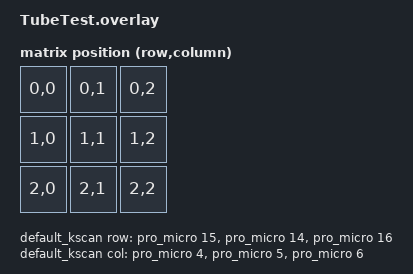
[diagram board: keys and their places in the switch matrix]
#include <dt-bindings/zmk/matrix_transform.h>

/ {
    chosen {
        zmk,kscan = &default_kscan;
        zmk,matrix_transform = &default_transform;
    };

    default_kscan: kscan {
        compatible = "zmk,kscan-gpio-matrix";
        label = "default_kscan";
        diode-direction = "col2row";

        row-gpios = <&pro_micro 15 (GPIO_ACTIVE_HIGH | GPIO_PULL_DOWN)>,
                    <&pro_micro 14 (GPIO_ACTIVE_HIGH | GPIO_PULL_DOWN)>,
                    <&pro_micro 16 (GPIO_ACTIVE_HIGH | GPIO_PULL_DOWN)>;
    
        col-gpios = <&pro_micro 4 GPIO_ACTIVE_HIGH>,
                    <&pro_micro 5 GPIO_ACTIVE_HIGH>,
                    <&pro_micro 6 GPIO_ACTIVE_HIGH>;
    };

    default_transform: matrix_transform {
        compatible = "zmk,matrix-transform";
        rows = <3>;
        columns = <3>;

        map = <
            RC(0,0) RC(0,1) RC(0,2)
            RC(1,0) RC(1,1) RC(1,2)
            RC(2,0) RC(2,1) RC(2,2)
        >;
    };
};
